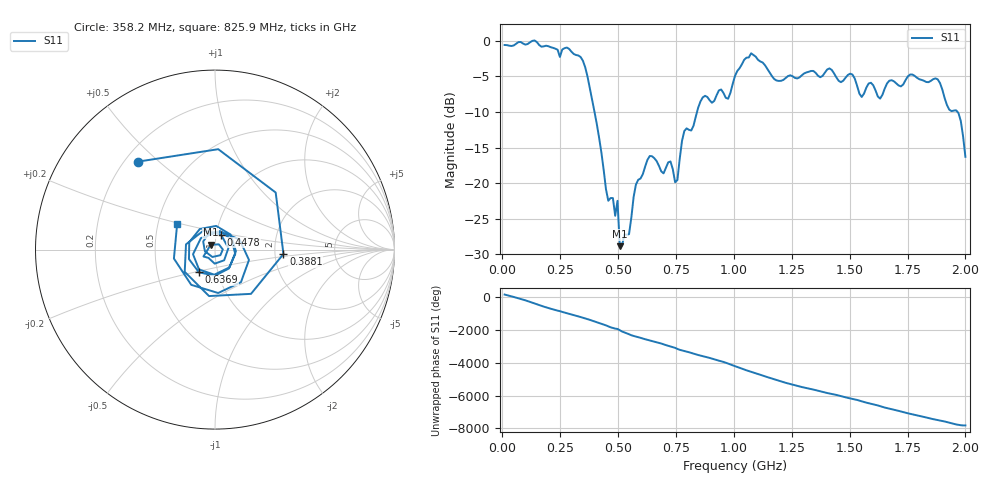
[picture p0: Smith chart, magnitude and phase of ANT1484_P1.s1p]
!Created with skrf (http://scikit-rf.org).
# Hz S RI R 50.0
!freq ReS11 ImS11
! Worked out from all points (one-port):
!   201 points, 10 MHz to 2 GHz, reference 50 ohm
!   lowest |S11| = -28.9 dB at 507.5 MHz (marker M1), VSWR 1.07, Z = 47.6 + j2.58 ohm
!   |S11| at or under -10 dB: 398.3 MHz to 841 MHz (442.7 MHz wide, 71.4 % of centre); 1.966 GHz to end of sweep
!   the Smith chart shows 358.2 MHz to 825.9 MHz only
!   S11 on the Smith chart (normalised r, x): 358.2 MHz: 0.25, +0.43; 388.1 MHz: 2.23, -0.13; 447.8 MHz: 1.05, +0.18; 636.9 MHz: 0.81, -0.21; 825.9 MHz: 0.63, +0.19
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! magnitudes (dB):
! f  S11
! 10 MHz  -0.6
! 258.8 MHz  -1.2
! 358.2 MHz  -3.7
! 388.1 MHz  -8.4
! 447.8 MHz  -20.9
! 487.6 MHz  -24.6
! 497.6 MHz  -22.5
! 507.5 MHz  -28.9
! 547.3 MHz  -27.2
! 577.1 MHz  -20.2
! 636.9 MHz  -16.2
! 756.2 MHz  -19.6
! 786.1 MHz  -12.7
! 825.9 MHz  -11.9
! 865.7 MHz  -7.9
! 975.1 MHz  -8.1
! 1.005 GHz  -4.9
! 1.075 GHz  -1.7
! 1.184 GHz  -5.6
! 1.254 GHz  -5.0
! 1.502 GHz  -4.6
! 1.552 GHz  -7.9
! 1.592 GHz  -5.9
! 1.632 GHz  -8.1
! 1.751 GHz  -5.0
! 1.881 GHz  -5.4
! 1.97 GHz  -10.2
! 2 GHz  -16.3
